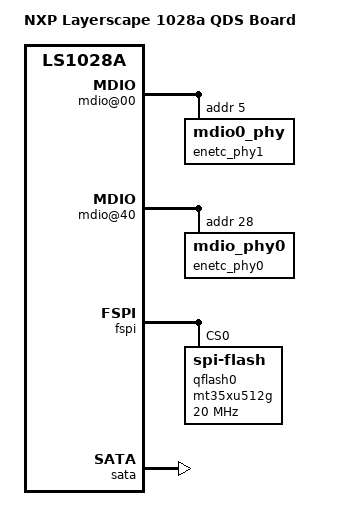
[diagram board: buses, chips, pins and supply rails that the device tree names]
/*
 * NXP ls1028a Simulator device tree source
 *
 * Copyright 2018-2019 NXP
 *
 * SPDX-License-Identifier:	GPL-2.0+
 */

/dts-v1/;

#include "fsl-ls1028a.dtsi"

/ {
	model = "NXP Layerscape 1028a QDS Board";
	compatible = "fsl,ls1028a-qds", "fsl,ls1028a";
	aliases {
		spi0 = &fspi;
	};

	qixis: qixis {
		#address-cells=<0>;
		#size-cells=<1>;
	};
};

&fspi {
	bus-num = <0>;
	status = "okay";

	qflash0: mt35xu512g@0 {
		#address-cells = <1>;
		#size-cells = <1>;
		compatible = "spi-flash";
		spi-max-frequency = <20000000>; /* TODO Need to chk*/
		reg = <0>;
	 };
};

&enetc_pcie {
	ethernet@0 {
		phy-mode = "sgmii";
		//phy-handle = <&enetc_phy0>;
	};
	ethernet@1 {
		phy-mode = "rgmii";
		//phy-handle = <&enetc_phy1>;
	};
	netc_mdio0: netc_mdio {
		#address-cells=<0>;
		#size-cells=<1>;
	};
};

&qixis {
	mdio-mux@54 {
		#address-cells=<1>;
		#size-cells = <0>;
		reg = <0x54>;
		mux-mask = <0xf0>;
		mdio-parent-bus = <&netc_mdio0>;
		/* on-board RGMII PHY */
		mdio@00 {
			#address-cells = <1>;
			#size-cells = <0>;
			reg = <0x00>;
			enetc_phy1: mdio0_phy@5 {
				reg = <5>;
			};
		};
		/* slot 1 - up to 4x, SoC lanes 0, 1, optionally 3, 4 */
		mdio@40 {
			#address-cells = <1>;
			#size-cells = <0>;
			reg = <0x40>;
			/* SerDes 8xxx - VSC8234 in slot 1 */
			enetc_phy0: mdio_phy0@1c {
				reg = <0x1c>;
			};
		};
		/* slot 2 or SFP cage - 1x, SoC lanes 0, 1 (?) */
		mdio@50 {
			#address-cells = <1>;
			#size-cells = <0>;
			reg = <0x50>;
		};
		/* slot 3 - 1x or 2x, SoC lane 2 and optionally 3 */
		mdio@60 {
			#address-cells = <1>;
			#size-cells = <0>;
			reg = <0x60>;
		};
		/* slot 4  - 1x, SoC lane 3 */
		mdio@70 {
			#address-cells = <1>;
			#size-cells = <0>;
			reg = <0x70>;
		};
	};
};

&sata {
	status = "okay";
};
